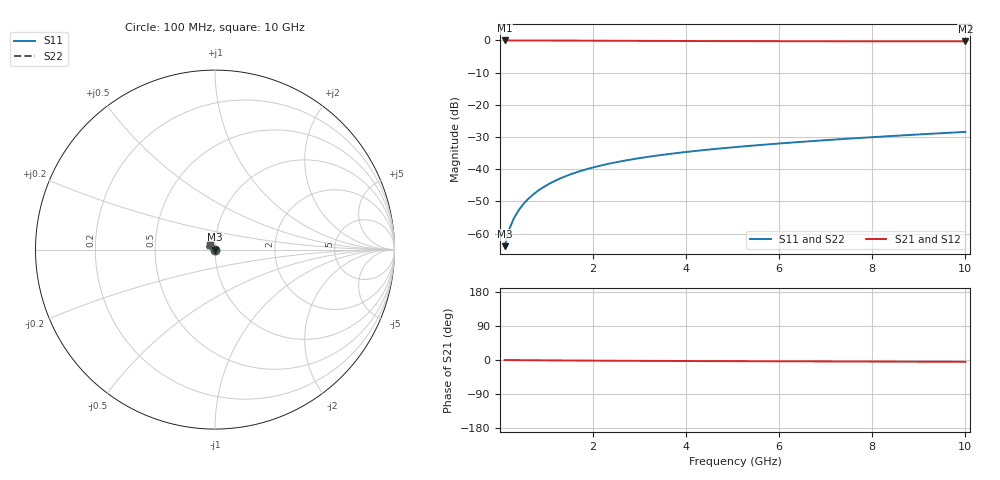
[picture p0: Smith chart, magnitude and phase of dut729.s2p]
! Touchstone file exported from HFSS 2024.1.0
!  File:  C:/UserFiles/LocalFiles/RDL_TSV_Batchsim/temp_TSV1_729_1779868996.aedt
!  Generated:  04:10:28 PM May 27, 2026
!  Design:  TSV1
!  Project:  temp_TSV1_729_1779868996
!  Setup:  Setup1
!  Solution:  Sweep
! Variables:
!  dtsv = 6.68um
!  hbump = 3um
!  htsv = 67.31um
!  lrdl = 252.1521522um
!  p = 40
!  p1 = 58.93um
!  t = 500um
!  trdl = 3um
!  wrdl = 24.89489489um
# GHz S MA R 50.000000
! Terminal data exported
! Port[1] = TSV22_T1
! Port[2] = TSV22_T2
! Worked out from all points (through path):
!   100 points, 100 MHz to 10 GHz, reference 50 ohm
!   highest |S21| = 0.00 dB at 100 MHz (marker M1); lowest = -0.3 dB at 10 GHz (marker M2)
!   lowest |S11| = -63.9 dB at 100 MHz (marker M3), VSWR 1.00, Z = 50 - j0.0585 ohm
!   |S11| at or under -10 dB: start of sweep to end of sweep
!   |S22| runs from -63.9 to -28.4 dB; largest |S21 - S12| = 4.3e-15
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0.1  0.0006401 -65.9  0.9997 -0.1  0.9997 -0.1  0.0006401 -65.9
! Gamma 0 0 0 0
! Port Impedance 50 0 50 0
0.2  0.001179 -81.2  0.9996 -0.2  0.9996 -0.2  0.001179 -81.2
0.3  0.001738 -88.5  0.9995 -0.3  0.9995 -0.3  0.001738 -88.5
0.4  0.002302 -93.4  0.9993 -0.4  0.9993 -0.4  0.002302 -93.4
0.5  0.002866 -97.5  0.999 -0.5  0.999 -0.5  0.002866 -97.5
0.6  0.003429 -101.0  0.9987 -0.6  0.9987 -0.6  0.003429 -101.0
0.7  0.003989 -104.2  0.9984 -0.7  0.9984 -0.7  0.003989 -104.2
0.8  0.004545 -107.2  0.998 -0.8  0.998 -0.8  0.004545 -107.2
0.9  0.005096 -110.1  0.9976 -0.9  0.9976 -0.9  0.005096 -110.1
1.1  0.006179 -115.5  0.9966 -1.0  0.9966 -1.0  0.006179 -115.5
1.4  0.00775 -123.1  0.995 -1.3  0.995 -1.3  0.00775 -123.1
1.6  0.008756 -127.9  0.9939 -1.4  0.9939 -1.4  0.008756 -127.9
1.8  0.009729 -132.5  0.9927 -1.6  0.9927 -1.6  0.009729 -132.5
2.1  0.01112 -139.0  0.9908 -1.8  0.9908 -1.8  0.01112 -139.0
2.5  0.01287 -147.1  0.9883 -2.0  0.9883 -2.0  0.01287 -147.1
2.9  0.0145 -154.6  0.9859 -2.2  0.9859 -2.2  0.0145 -154.6
3.4  0.01641 -163.1  0.9832 -2.4  0.9832 -2.4  0.01641 -163.1
4.2  0.01925 -174.9  0.9795 -2.8  0.9795 -2.8  0.01924 -174.9
5.1  0.02224 174.0  0.9761 -3.1  0.9761 -3.1  0.02223 174.0
6.7  0.02735 158.6  0.972 -3.7  0.972 -3.7  0.02735 158.6
8.4  0.03279 146.6  0.9691 -4.2  0.9691 -4.2  0.03279 146.6
10  0.03802 138.0  0.9671 -4.8  0.9671 -4.8  0.03802 138.0
